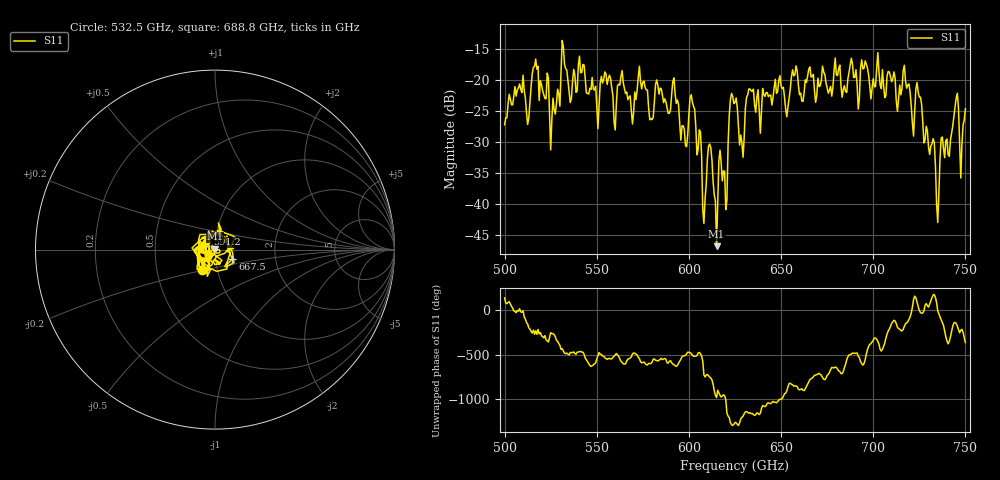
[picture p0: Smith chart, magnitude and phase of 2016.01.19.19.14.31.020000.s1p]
!Created with skrf (http://scikit-rf.org).
# GHz S RI R 50.0
!freq ReS11 ImS11
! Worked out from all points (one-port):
!   401 points, 500 GHz to 750 GHz, reference 50 ohm
!   lowest |S11| = -46.7 dB at 615 GHz (marker M1), VSWR 1.01, Z = 49.9 + j0.454 ohm
!   |S11| at or under -10 dB: start of sweep to end of sweep
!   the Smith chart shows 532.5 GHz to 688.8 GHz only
!   S11 on the Smith chart (normalised r, x): 532.5 GHz: 0.85, -0.19; 591.2 GHz: 0.91, +0.16; 667.5 GHz: 1.21, -0.13; 688.8 GHz: 0.85, -0.20
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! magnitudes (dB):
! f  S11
! 500 GHz  -27.2
! 512.5 GHz  -27.2
! 516.9 GHz  -16.7
! 526.2 GHz  -23.0
! 531.2 GHz  -13.7
! 532.5 GHz  -17.5
! 550 GHz  -24.1
! 562.5 GHz  -20.9
! 591.2 GHz  -20.3
! 593.8 GHz  -23.3
! 598.1 GHz  -30.6
! 601.9 GHz  -23.6
! 608.1 GHz  -43.1
! 611.2 GHz  -30.3
! 615 GHz  -46.7
! 625 GHz  -23.6
! 628.8 GHz  -30.1
! 632.5 GHz  -21.5
! 656.2 GHz  -18.4
! 667.5 GHz  -19.1
! 687.5 GHz  -17.6
! 688.8 GHz  -17.5
! 718.8 GHz  -20.8
! 725 GHz  -22.8
! 735 GHz  -42.9
! 745 GHz  -22.9
! 748.1 GHz  -30.3
! 750 GHz  -24.6
